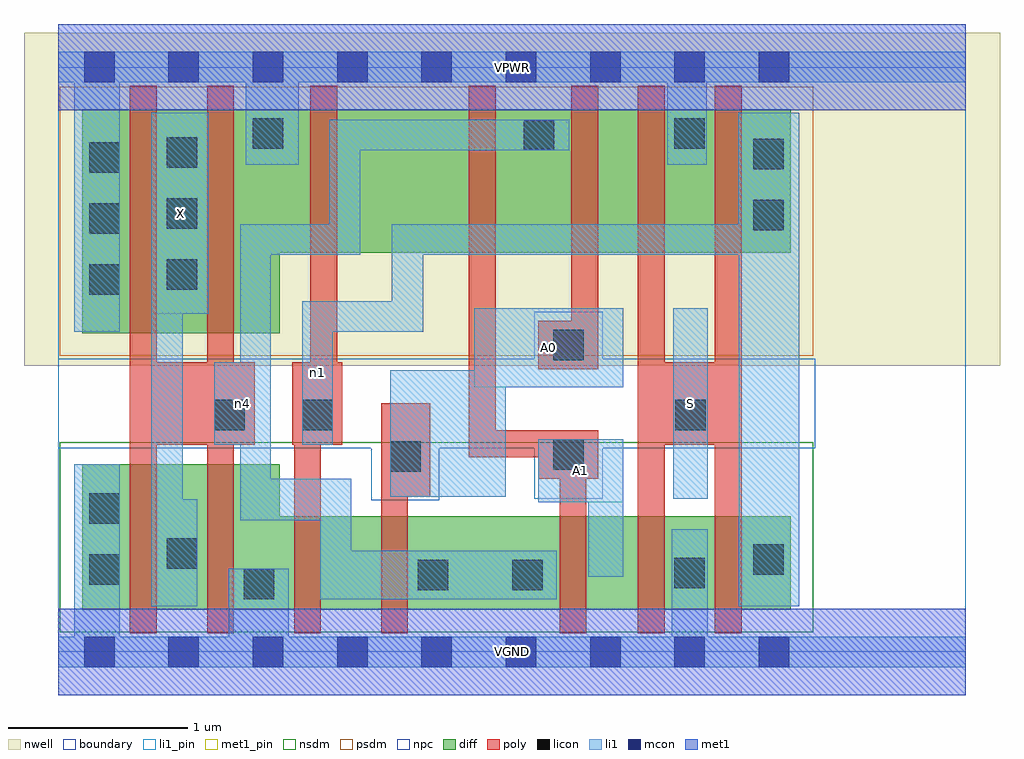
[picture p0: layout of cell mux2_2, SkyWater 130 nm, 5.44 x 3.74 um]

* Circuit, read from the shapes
.subckt mux2_2 A0 A1 S VGND VPWR X n1 n4
XM1 X n4 VGND VSUBS sky130_fd_pr__nfet_01v8 w=0.81 l=0.15 m=2
XM2 n2 n1 VGND VSUBS sky130_fd_pr__nfet_01v8 w=0.52 l=0.15
XM3 n4 A0 n2 VSUBS sky130_fd_pr__nfet_01v8 w=0.52 l=0.15
XM4 n3 A1 n4 VSUBS sky130_fd_pr__nfet_01v8 w=0.52 l=0.15
XM5 VGND S n3 VSUBS sky130_fd_pr__nfet_01v8 w=0.52 l=0.15
XM6 n1 S VGND VSUBS sky130_fd_pr__nfet_01v8 w=0.52 l=0.15
XM7 X n4 VPWR n5 sky130_fd_pr__pfet_01v8 w=1.25 l=0.15 m=2
XM8 n6 n1 VPWR n5 sky130_fd_pr__pfet_01v8 w=0.8 l=0.15
XM9 n4 A1 n6 n5 sky130_fd_pr__pfet_01v8 w=0.8 l=0.15
XM10 n7 A0 n4 n5 sky130_fd_pr__pfet_01v8 w=0.8 l=0.15
XM11 VPWR S n7 n5 sky130_fd_pr__pfet_01v8 w=0.8 l=0.15
XM12 n1 S VPWR n5 sky130_fd_pr__pfet_01v8 w=0.8 l=0.15
.ends

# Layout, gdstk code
import gdstk
lib = gdstk.Library(unit=1e-6, precision=1e-09)
def R(c, l, rs):  # rectangles x0, y0, x1, y1
    for r in rs: c.add(gdstk.rectangle(r[:2], r[2:], *l))
def A(c, l, x, y, w, h, nx, ny, dx, dy):  # array of equal rectangles
    R(c, l, [(x+i*dx, y+j*dy, x+i*dx+w, y+j*dy+h) for i in range(nx) for j in range(ny)])
nwell = (64, 20)
diff = (65, 20)
poly = (66, 20)
licon = (66, 44)
li1_pin = (67, 16)
li1 = (67, 20)
mcon = (67, 44)
met1_pin = (68, 16)
met1 = (68, 20)
nsdm = (93, 44)
psdm = (94, 20)
npc = (95, 20)
boundary = (235, 4)

mux2_2 = lib.new_cell('mux2_2')
R(mux2_2, nwell, [(-0.19,1.595,5.25,3.45), (0,1.595,5.06,3.45)])
R(mux2_2, diff, [(0.135,0.235,4.085,0.755), (0.135,0.235,1.235,1.045), (0.135,1.775,1.235,3.025), (0.135,2.225,4.085,3.025)])
R(mux2_2, poly, [(0.4,0.105,0.55,3.155), (0.83,0.105,0.98,3.155), (1.315,0.105,1.465,1.615), (1.8,0.105,1.95,1.385), (2.795,0.105,2.945,1.235), (3.23,0.105,3.38,3.155), (3.66,0.105,3.81,3.155), (1.8,0.865,2.075,1.385), (2.675,0.965,3.01,1.235), (2.29,1.085,2.44,3.155), (2.29,1.085,3.01,1.235), (0.4,1.155,1.095,1.615), (1.305,1.155,1.585,1.615), (1.405,1.155,1.555,3.155), (3.23,1.155,3.81,1.615), (2.675,1.575,3.01,1.845), (2.86,1.575,3.01,3.155)])
A(mux2_2, licon, 0.175, 1.99, 0.17, 0.17, 1, 3, 0, 0.34)
A(mux2_2, licon, 0.605, 2.02, 0.17, 0.17, 1, 3, 0, 0.34)
R(mux2_2, licon, [(1.035,0.295,1.205,0.465), (2.005,0.345,2.175,0.515), (2.53,0.345,2.7,0.515), (3.435,0.355,3.605,0.525), (0.175,0.375,0.345,0.545), (3.875,0.43,4.045,0.6), (0.605,0.465,0.775,0.635), (0.175,0.715,0.345,0.885), (1.85,1.005,2.02,1.175), (2.76,1.015,2.93,1.185), (0.87,1.235,1.04,1.405), (1.36,1.235,1.53,1.405), (3.44,1.235,3.61,1.405), (2.76,1.625,2.93,1.795), (3.875,2.35,4.045,2.52), (3.875,2.69,4.045,2.86), (2.595,2.795,2.765,2.965), (1.085,2.805,1.255,2.975), (3.435,2.805,3.605,2.975)])
R(mux2_2, li1_pin, [(2.675,0.835,3.15,1.185), (3.43,0.855,3.62,1.915), (2.32,1.475,3.15,1.915), (0.52,1.885,0.84,3.005)])
R(mux2_2, li1, [(0,-0.085,5.06,0.085), (0.09,-0.085,0.345,1.045), (0.95,-0.085,1.285,0.465), (3.42,-0.085,3.62,0.685), (0.52,0.255,0.695,3.005), (0.52,0.255,0.775,0.85), (3.795,0.255,4.13,3.005), (1.46,0.295,2.78,0.565), (1.46,0.295,1.635,0.965), (2.955,0.42,3.15,1.185), (1.015,0.735,1.185,2.385), (1.015,0.735,1.635,0.965), (2.675,0.835,3.15,1.185), (3.43,0.855,3.62,1.915), (1.85,0.865,2.495,1.57), (2.32,0.865,2.495,1.915), (0.87,1.155,1.185,1.615), (1.36,1.155,1.53,1.955), (2.32,1.475,3.15,1.915), (0.09,1.785,0.345,3.345), (1.36,1.785,2.035,1.955), (1.86,1.785,2.035,2.385), (0.52,1.885,0.84,3.005), (1.015,2.215,1.685,2.385), (1.51,2.215,1.685,2.965), (1.86,2.215,4.13,2.385), (3.79,2.215,4.13,3.005), (1.045,2.715,1.34,3.345), (3.395,2.715,3.615,3.345), (1.51,2.795,2.85,2.965), (0,3.175,5.06,3.345)])
A(mux2_2, mcon, 0.145, -0.085, 0.17, 0.17, 9, 2, 0.47, 3.26)
R(mux2_2, met1_pin, [(0,-0.24,5.06,0.24), (0,3.02,5.06,3.5)])
R(mux2_2, met1, [(0,-0.24,5.06,0.24), (0,3.02,5.06,3.5)])
R(mux2_2, nsdm, [(0.01,0.11,4.21,1.17)])
R(mux2_2, psdm, [(0.01,1.65,4.21,3.15)])
R(mux2_2, npc, [(1.745,0.845,2.125,1.635), (2.655,0.855,3.035,1.895), (0,1.135,4.22,1.635)])
R(mux2_2, boundary, [(0,0,5.06,3.26)])
mux2_2.add(gdstk.Label('A0', (2.735,1.695), layer=67, texttype=5))
mux2_2.add(gdstk.Label('A1', (2.912,1.01), layer=67, texttype=5))
mux2_2.add(gdstk.Label('S', (3.525,1.385), layer=67, texttype=5))
mux2_2.add(gdstk.Label('X', (0.68,2.445), layer=67, texttype=5))
mux2_2.add(gdstk.Label('n4', (1.027,1.385), layer=67, texttype=5))
mux2_2.add(gdstk.Label('n1', (1.445,1.555), layer=67, texttype=5))
mux2_2.add(gdstk.Label('VPWR', (2.53,3.26), layer=68, texttype=5))
mux2_2.add(gdstk.Label('VGND', (2.53,0), layer=68, texttype=5))
mux2_2.add(gdstk.Label('A0', (2.735,1.695), layer=67, texttype=16))
mux2_2.add(gdstk.Label('A1', (2.912,1.01), layer=67, texttype=16))
mux2_2.add(gdstk.Label('S', (3.525,1.385), layer=67, texttype=16))
mux2_2.add(gdstk.Label('X', (0.68,2.445), layer=67, texttype=16))
mux2_2.add(gdstk.Label('VPWR', (2.53,3.26), layer=68, texttype=16))
mux2_2.add(gdstk.Label('VGND', (2.53,0), layer=68, texttype=16))

lib.write_gds('mux2_2.gds')
